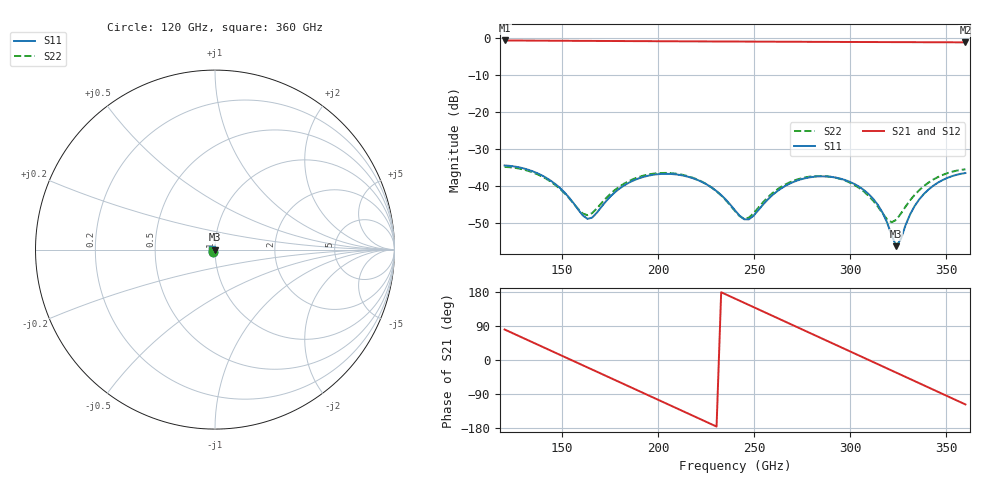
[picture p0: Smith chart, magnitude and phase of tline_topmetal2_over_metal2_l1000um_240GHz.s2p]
#  GHZ S DB R 50
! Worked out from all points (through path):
!   101 points, 120 GHz to 360 GHz, reference 50 ohm
!   highest |S21| = -0.77 dB at 120 GHz (marker M1); lowest = -1.3 dB at 360 GHz (marker M2)
!   group delay of S21, straight-line fit = 6.45 ps
!   lowest |S11| = -56.3 dB at 324 GHz (marker M3), VSWR 1.00, Z = 50.2 - j0.0092 ohm
!   |S11| at or under -10 dB: start of sweep to end of sweep
!   |S22| runs from -49.9 to -34.9 dB; largest |S21 - S12| = 1e-13
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120  -34.53 -128.0  -0.77 80.5  -0.77 80.5  -34.93 -130.0
129.6  -35.29 -156.7  -0.80 58.2  -0.80 58.2  -35.60 -158.8
141.6  -37.85 165.2  -0.83 30.4  -0.83 30.4  -38.11 162.6
151.2  -41.82 128.4  -0.86 8.1  -0.86 8.1  -42.03 124.2
160.8  -48.08 63.4  -0.88 -14.1  -0.88 -14.1  -47.54 55.7
165.6  -48.61 7.3  -0.89 -25.3  -0.89 -25.3  -47.38 3.9
182.4  -39.87 -92.6  -0.93 -64.2  -0.93 -64.2  -39.39 -90.6
201.6  -36.82 -154.6  -0.98 -108.8  -0.98 -108.8  -36.56 -152.5
220.8  -38.51 145.8  -1.02 -153.4  -1.02 -153.4  -38.42 147.8
240  -46.65 61.2  -1.06 162.0  -1.06 162.0  -46.84 60.2
247.2  -49.09 -10.6  -1.08 145.3  -1.08 145.3  -48.63 -13.7
261.6  -41.63 -105.4  -1.10 111.8  -1.10 111.8  -41.15 -103.6
280.8  -37.60 -168.2  -1.14 67.2  -1.14 67.2  -37.44 -166.4
295.2  -38.13 150.1  -1.17 33.7  -1.17 33.7  -38.23 150.2
307.2  -41.19 114.4  -1.19 5.7  -1.19 5.7  -41.60 109.7
314.4  -45.17 89.1  -1.20 -11.0  -1.20 -11.0  -45.65 75.2
321.6  -53.40 40.9  -1.22 -27.8  -1.22 -27.8  -49.88 5.5
324  -56.33 -3.4  -1.22 -33.4  -1.22 -33.4  -49.21 -24.6
331.2  -47.74 -97.7  -1.23 -50.1  -1.23 -50.1  -43.94 -80.9
338.4  -42.22 -127.1  -1.24 -66.9  -1.24 -66.9  -40.08 -111.2
348  -38.51 -156.5  -1.26 -89.3  -1.26 -89.3  -37.12 -141.8
360  -36.57 169.8  -1.28 -117.2  -1.28 -117.2  -35.58 -175.6
